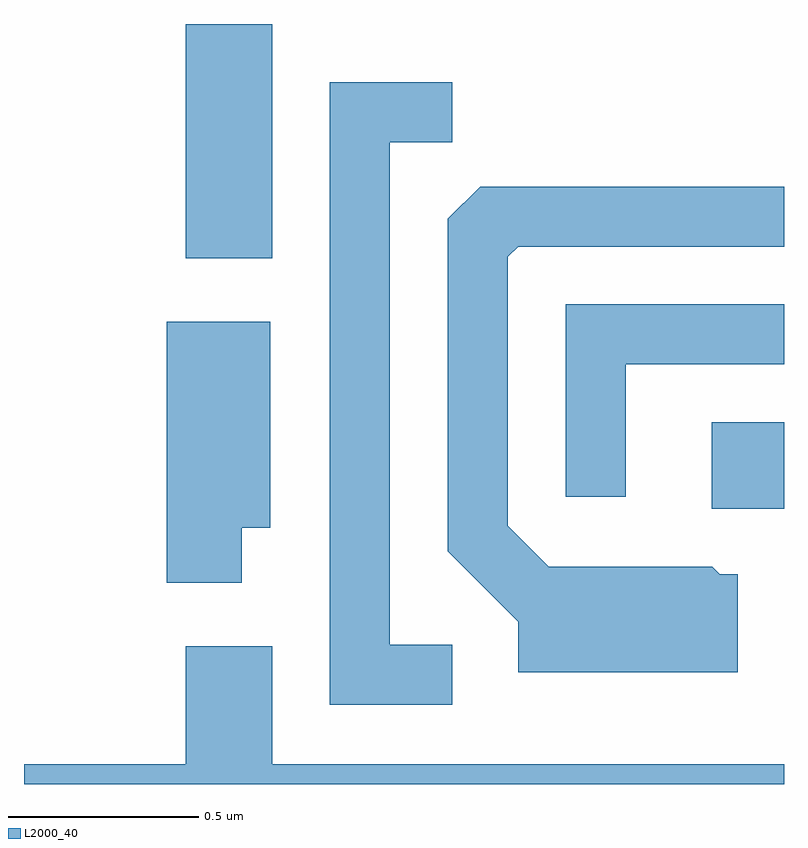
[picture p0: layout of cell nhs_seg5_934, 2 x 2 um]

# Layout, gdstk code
import gdstk
lib = gdstk.Library(unit=1e-6, precision=1e-09)
def R(c, l, rs):  # rectangles x0, y0, x1, y1
    for r in rs: c.add(gdstk.rectangle(r[:2], r[2:], *l))
def P(c, l, *ps):  # polygons
    for p in ps: c.add(gdstk.Polygon(p, *l))
L2000_40 = (2000, 40)

nhs_seg5_934 = lib.new_cell('nhs_seg5_934')
R(nhs_seg5_934, L2000_40, [(193.421,1508.796,193.611,1509.024), (192.036,1509.456,192.264,1510.072)])
P(nhs_seg5_934, L2000_40, [(192.738,1508.439),(192.574,1508.439),(192.574,1509.761),(192.738,1509.761),(192.738,1509.919),(192.416,1509.919),(192.416,1508.281),(192.738,1508.281)],
  [(193.489,1508.624),(193.442,1508.624),(193.422,1508.644),(192.992,1508.644),(192.884,1508.752),(192.884,1509.459),(192.912,1509.486),(193.611,1509.486),(193.611,1509.644),(192.812,1509.644),(192.726,1509.559),(192.726,1508.684),(192.911,1508.499),(192.911,1508.366),(193.489,1508.366)],
  [(193.194,1509.176),(193.611,1509.176),(193.611,1509.334),(193.036,1509.334),(193.036,1508.828),(193.194,1508.828)],
  [(192.184,1508.746),(192.259,1508.746),(192.259,1509.289),(191.986,1509.289),(191.986,1508.601),(192.184,1508.601)],
  [(193.611,1508.124),(192.264,1508.124),(192.264,1508.434),(192.036,1508.434),(192.036,1508.124),(191.611,1508.124),(191.611,1508.072),(193.611,1508.072)])

lib.write_gds('nhs_seg5_934.gds')
